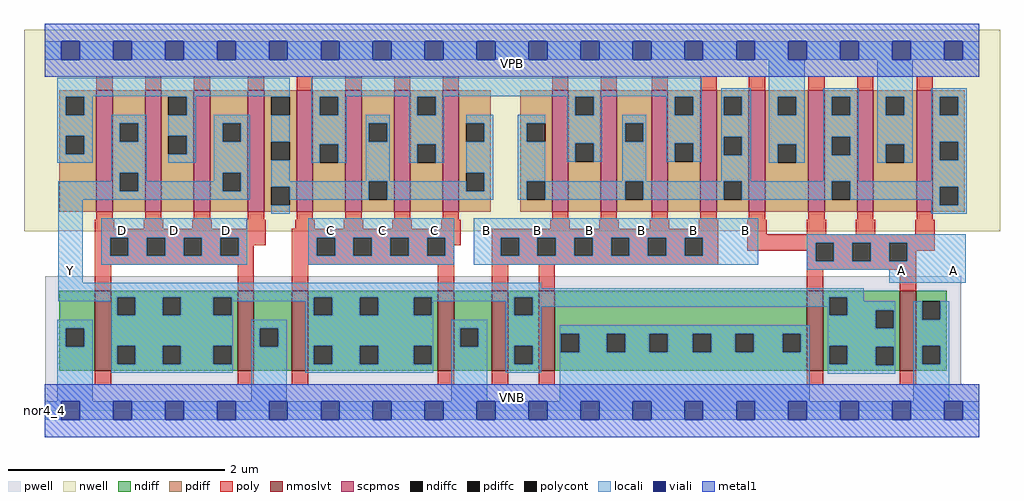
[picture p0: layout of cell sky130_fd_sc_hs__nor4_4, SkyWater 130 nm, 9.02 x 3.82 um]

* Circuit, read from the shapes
.subckt sky130_fd_sc_hs__nor4_4 A B C D VGND VNB VPB VPWR Y
XM1 Y D VGND VNB sky130_fd_pr__nfet_01v8_lvt w=0.74 l=0.15 m=2
XM2 Y C VGND VNB sky130_fd_pr__nfet_01v8_lvt w=0.74 l=0.15 m=2
XM3 Y B VGND VNB sky130_fd_pr__nfet_01v8_lvt w=0.74 l=0.15 m=2
XM4 Y A VGND VNB sky130_fd_pr__nfet_01v8_lvt w=0.74 l=0.15 m=2
XM5 Y D n1 VPB sky130_fd_pr__pfet_01v8 w=1.12 l=0.15 m=4
XM6 n2 C n1 VPB sky130_fd_pr__pfet_01v8 w=1.12 l=0.15 m=4
XM7 n2 B n3 VPB sky130_fd_pr__pfet_01v8 w=1.12 l=0.15 m=4
XM8 VPWR A n3 VPB sky130_fd_pr__pfet_01v8 w=1.12 l=0.15 m=4
.ends

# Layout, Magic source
magic
tech sky130A
magscale 1 2
<< nwell >>
rect -38 332 1766 704
<< pwell >>
rect 1 49 1694 248
rect 0 0 1728 49
<< scpmos >>
rect 96 368 126 592
rect 186 368 216 592
rect 276 368 306 592
rect 376 368 406 592
rect 466 368 496 592
rect 556 368 586 592
rect 646 368 676 592
rect 736 368 766 592
rect 938 368 968 592
rect 1028 368 1058 592
rect 1122 368 1152 592
rect 1212 368 1242 592
rect 1302 368 1332 592
rect 1412 368 1442 592
rect 1502 368 1532 592
rect 1612 368 1642 592
<< nmoslvt >>
rect 93 74 123 222
rect 357 74 387 222
rect 457 74 487 222
rect 727 74 757 222
rect 827 74 857 222
rect 913 74 943 222
rect 1409 74 1439 222
rect 1581 74 1611 222
<< ndiff >>
rect 27 152 93 222
rect 27 118 39 152
rect 73 118 93 152
rect 27 74 93 118
rect 123 210 357 222
rect 123 176 134 210
rect 168 176 218 210
rect 252 176 312 210
rect 346 176 357 210
rect 123 120 357 176
rect 123 86 134 120
rect 168 86 218 120
rect 252 86 312 120
rect 346 86 357 120
rect 123 74 357 86
rect 387 152 457 222
rect 387 118 398 152
rect 432 118 457 152
rect 387 74 457 118
rect 487 210 727 222
rect 487 176 498 210
rect 532 176 583 210
rect 617 176 682 210
rect 716 176 727 210
rect 487 120 727 176
rect 487 86 498 120
rect 532 86 583 120
rect 617 86 682 120
rect 716 86 727 120
rect 487 74 727 86
rect 757 152 827 222
rect 757 118 768 152
rect 802 118 827 152
rect 757 74 827 118
rect 857 210 913 222
rect 857 176 868 210
rect 902 176 913 210
rect 857 120 913 176
rect 857 86 868 120
rect 902 86 913 120
rect 857 74 913 86
rect 943 142 1409 222
rect 943 108 954 142
rect 988 108 1039 142
rect 1073 108 1118 142
rect 1152 108 1198 142
rect 1232 108 1277 142
rect 1311 108 1364 142
rect 1398 108 1409 142
rect 943 74 1409 108
rect 1439 210 1581 222
rect 1439 176 1450 210
rect 1484 186 1581 210
rect 1484 176 1536 186
rect 1439 152 1536 176
rect 1570 152 1581 186
rect 1439 120 1581 152
rect 1439 86 1450 120
rect 1484 118 1581 120
rect 1484 86 1536 118
rect 1439 84 1536 86
rect 1570 84 1581 118
rect 1439 74 1581 84
rect 1611 202 1668 222
rect 1611 168 1622 202
rect 1656 168 1668 202
rect 1611 120 1668 168
rect 1611 86 1622 120
rect 1656 86 1668 120
rect 1611 74 1668 86
<< pdiff >>
rect 27 580 96 592
rect 27 546 39 580
rect 73 546 96 580
rect 27 508 96 546
rect 27 474 39 508
rect 73 474 96 508
rect 27 368 96 474
rect 126 531 186 592
rect 126 497 139 531
rect 173 497 186 531
rect 126 440 186 497
rect 126 406 139 440
rect 173 406 186 440
rect 126 368 186 406
rect 216 580 276 592
rect 216 546 229 580
rect 263 546 276 580
rect 216 508 276 546
rect 216 474 229 508
rect 263 474 276 508
rect 216 368 276 474
rect 306 531 376 592
rect 306 497 329 531
rect 363 497 376 531
rect 306 440 376 497
rect 306 406 329 440
rect 363 406 376 440
rect 306 368 376 406
rect 406 580 466 592
rect 406 546 419 580
rect 453 546 466 580
rect 406 497 466 546
rect 406 463 419 497
rect 453 463 466 497
rect 406 414 466 463
rect 406 380 419 414
rect 453 380 466 414
rect 406 368 466 380
rect 496 580 556 592
rect 496 546 509 580
rect 543 546 556 580
rect 496 492 556 546
rect 496 458 509 492
rect 543 458 556 492
rect 496 368 556 458
rect 586 531 646 592
rect 586 497 599 531
rect 633 497 646 531
rect 586 424 646 497
rect 586 390 599 424
rect 633 390 646 424
rect 586 368 646 390
rect 676 580 736 592
rect 676 546 689 580
rect 723 546 736 580
rect 676 492 736 546
rect 676 458 689 492
rect 723 458 736 492
rect 676 368 736 458
rect 766 531 825 592
rect 766 497 779 531
rect 813 497 825 531
rect 766 440 825 497
rect 766 406 779 440
rect 813 406 825 440
rect 766 368 825 406
rect 879 531 938 592
rect 879 497 891 531
rect 925 497 938 531
rect 879 424 938 497
rect 879 390 891 424
rect 925 390 938 424
rect 879 368 938 390
rect 968 580 1028 592
rect 968 546 981 580
rect 1015 546 1028 580
rect 968 494 1028 546
rect 968 460 981 494
rect 1015 460 1028 494
rect 968 368 1028 460
rect 1058 531 1122 592
rect 1058 497 1073 531
rect 1107 497 1122 531
rect 1058 424 1122 497
rect 1058 390 1073 424
rect 1107 390 1122 424
rect 1058 368 1122 390
rect 1152 580 1212 592
rect 1152 546 1165 580
rect 1199 546 1212 580
rect 1152 494 1212 546
rect 1152 460 1165 494
rect 1199 460 1212 494
rect 1152 368 1212 460
rect 1242 580 1302 592
rect 1242 546 1255 580
rect 1289 546 1302 580
rect 1242 506 1302 546
rect 1242 472 1255 506
rect 1289 472 1302 506
rect 1242 424 1302 472
rect 1242 390 1255 424
rect 1289 390 1302 424
rect 1242 368 1302 390
rect 1332 580 1412 592
rect 1332 546 1355 580
rect 1389 546 1412 580
rect 1332 492 1412 546
rect 1332 458 1355 492
rect 1389 458 1412 492
rect 1332 368 1412 458
rect 1442 580 1502 592
rect 1442 546 1455 580
rect 1489 546 1502 580
rect 1442 506 1502 546
rect 1442 472 1455 506
rect 1489 472 1502 506
rect 1442 424 1502 472
rect 1442 390 1455 424
rect 1489 390 1502 424
rect 1442 368 1502 390
rect 1532 580 1612 592
rect 1532 546 1555 580
rect 1589 546 1612 580
rect 1532 492 1612 546
rect 1532 458 1555 492
rect 1589 458 1612 492
rect 1532 368 1612 458
rect 1642 580 1701 592
rect 1642 546 1655 580
rect 1689 546 1701 580
rect 1642 497 1701 546
rect 1642 463 1655 497
rect 1689 463 1701 497
rect 1642 414 1701 463
rect 1642 380 1655 414
rect 1689 380 1701 414
rect 1642 368 1701 380
<< ndiffc >>
rect 39 118 73 152
rect 134 176 168 210
rect 218 176 252 210
rect 312 176 346 210
rect 134 86 168 120
rect 218 86 252 120
rect 312 86 346 120
rect 398 118 432 152
rect 498 176 532 210
rect 583 176 617 210
rect 682 176 716 210
rect 498 86 532 120
rect 583 86 617 120
rect 682 86 716 120
rect 768 118 802 152
rect 868 176 902 210
rect 868 86 902 120
rect 954 108 988 142
rect 1039 108 1073 142
rect 1118 108 1152 142
rect 1198 108 1232 142
rect 1277 108 1311 142
rect 1364 108 1398 142
rect 1450 176 1484 210
rect 1536 152 1570 186
rect 1450 86 1484 120
rect 1536 84 1570 118
rect 1622 168 1656 202
rect 1622 86 1656 120
<< pdiffc >>
rect 39 546 73 580
rect 39 474 73 508
rect 139 497 173 531
rect 139 406 173 440
rect 229 546 263 580
rect 229 474 263 508
rect 329 497 363 531
rect 329 406 363 440
rect 419 546 453 580
rect 419 463 453 497
rect 419 380 453 414
rect 509 546 543 580
rect 509 458 543 492
rect 599 497 633 531
rect 599 390 633 424
rect 689 546 723 580
rect 689 458 723 492
rect 779 497 813 531
rect 779 406 813 440
rect 891 497 925 531
rect 891 390 925 424
rect 981 546 1015 580
rect 981 460 1015 494
rect 1073 497 1107 531
rect 1073 390 1107 424
rect 1165 546 1199 580
rect 1165 460 1199 494
rect 1255 546 1289 580
rect 1255 472 1289 506
rect 1255 390 1289 424
rect 1355 546 1389 580
rect 1355 458 1389 492
rect 1455 546 1489 580
rect 1455 472 1489 506
rect 1455 390 1489 424
rect 1555 546 1589 580
rect 1555 458 1589 492
rect 1655 546 1689 580
rect 1655 463 1689 497
rect 1655 380 1689 414
<< poly >>
rect 96 592 126 618
rect 186 592 216 618
rect 276 592 306 618
rect 376 592 406 618
rect 466 592 496 618
rect 556 592 586 618
rect 646 592 676 618
rect 736 592 766 618
rect 938 592 968 618
rect 1028 592 1058 618
rect 1122 592 1152 618
rect 1212 592 1242 618
rect 1302 592 1332 618
rect 1412 592 1442 618
rect 1502 592 1532 618
rect 1612 592 1642 618
rect 96 353 126 368
rect 186 353 216 368
rect 276 353 306 368
rect 376 353 406 368
rect 466 353 496 368
rect 556 353 586 368
rect 646 353 676 368
rect 736 353 766 368
rect 938 353 968 368
rect 1028 353 1058 368
rect 1122 353 1152 368
rect 1212 353 1242 368
rect 1302 353 1332 368
rect 1412 353 1442 368
rect 1502 353 1532 368
rect 1612 353 1642 368
rect 93 336 129 353
rect 183 336 219 353
rect 273 336 309 353
rect 373 336 409 353
rect 463 336 499 353
rect 553 336 589 353
rect 643 336 679 353
rect 733 336 769 353
rect 935 336 971 353
rect 1025 336 1061 353
rect 1119 336 1155 353
rect 1209 336 1245 353
rect 93 320 409 336
rect 93 286 121 320
rect 155 286 189 320
rect 223 286 257 320
rect 291 286 325 320
rect 359 306 409 320
rect 457 320 769 336
rect 359 286 387 306
rect 93 270 387 286
rect 93 222 123 270
rect 357 222 387 270
rect 457 286 503 320
rect 537 286 571 320
rect 605 286 639 320
rect 673 286 707 320
rect 741 306 769 320
rect 827 320 1245 336
rect 741 286 757 306
rect 457 270 757 286
rect 457 222 487 270
rect 727 222 757 270
rect 827 286 843 320
rect 877 286 911 320
rect 945 286 979 320
rect 1013 286 1047 320
rect 1081 286 1115 320
rect 1149 286 1183 320
rect 1217 286 1245 320
rect 1299 326 1335 353
rect 1409 326 1445 353
rect 1499 326 1535 353
rect 1609 326 1645 353
rect 1299 310 1645 326
rect 1299 296 1425 310
rect 827 270 1245 286
rect 1409 276 1425 296
rect 1459 276 1493 310
rect 1527 276 1561 310
rect 1595 296 1645 310
rect 1595 276 1611 296
rect 827 222 857 270
rect 913 222 943 270
rect 1409 260 1611 276
rect 1409 222 1439 260
rect 1581 222 1611 260
rect 93 48 123 74
rect 357 48 387 74
rect 457 48 487 74
rect 727 48 757 74
rect 827 48 857 74
rect 913 48 943 74
rect 1409 48 1439 74
rect 1581 48 1611 74
<< polycont >>
rect 121 286 155 320
rect 189 286 223 320
rect 257 286 291 320
rect 325 286 359 320
rect 503 286 537 320
rect 571 286 605 320
rect 639 286 673 320
rect 707 286 741 320
rect 843 286 877 320
rect 911 286 945 320
rect 979 286 1013 320
rect 1047 286 1081 320
rect 1115 286 1149 320
rect 1183 286 1217 320
rect 1425 276 1459 310
rect 1493 276 1527 310
rect 1561 276 1595 310
<< locali >>
rect 0 649 31 683
rect 65 649 127 683
rect 161 649 223 683
rect 257 649 319 683
rect 353 649 415 683
rect 449 649 511 683
rect 545 649 607 683
rect 641 649 703 683
rect 737 649 799 683
rect 833 649 895 683
rect 929 649 991 683
rect 1025 649 1087 683
rect 1121 649 1183 683
rect 1217 649 1279 683
rect 1313 649 1375 683
rect 1409 649 1471 683
rect 1505 649 1567 683
rect 1601 649 1663 683
rect 1697 649 1728 683
rect 23 581 453 615
rect 23 580 89 581
rect 23 546 39 580
rect 73 546 89 580
rect 229 580 279 581
rect 23 508 89 546
rect 23 474 39 508
rect 73 474 89 508
rect 23 458 89 474
rect 123 531 189 547
rect 123 497 139 531
rect 173 497 189 531
rect 123 440 189 497
rect 263 546 279 580
rect 419 580 453 581
rect 229 508 279 546
rect 263 474 279 508
rect 229 458 279 474
rect 313 531 379 547
rect 313 497 329 531
rect 363 497 379 531
rect 123 424 139 440
rect 25 406 139 424
rect 173 424 189 440
rect 313 440 379 497
rect 313 424 329 440
rect 173 406 329 424
rect 363 406 379 440
rect 25 390 379 406
rect 419 497 453 546
rect 419 424 453 463
rect 493 581 1215 615
rect 493 580 559 581
rect 493 546 509 580
rect 543 546 559 580
rect 673 580 739 581
rect 493 492 559 546
rect 493 458 509 492
rect 543 458 559 492
rect 594 531 638 547
rect 594 497 599 531
rect 633 497 638 531
rect 594 424 638 497
rect 673 546 689 580
rect 723 546 739 580
rect 965 580 1031 581
rect 673 492 739 546
rect 673 458 689 492
rect 723 458 739 492
rect 779 531 829 547
rect 813 497 829 531
rect 779 440 829 497
rect 419 414 599 424
rect 25 236 71 390
rect 453 390 599 414
rect 633 406 779 424
rect 813 406 829 440
rect 633 390 829 406
rect 875 531 925 547
rect 875 497 891 531
rect 875 424 925 497
rect 965 546 981 580
rect 1015 546 1031 580
rect 1149 580 1215 581
rect 965 494 1031 546
rect 965 460 981 494
rect 1015 460 1031 494
rect 1068 531 1112 547
rect 1068 497 1073 531
rect 1107 497 1112 531
rect 1068 424 1112 497
rect 1149 546 1165 580
rect 1199 546 1215 580
rect 1149 494 1215 546
rect 1149 460 1165 494
rect 1199 460 1215 494
rect 1251 580 1305 596
rect 1251 546 1255 580
rect 1289 546 1305 580
rect 1251 506 1305 546
rect 1251 472 1255 506
rect 1289 472 1305 506
rect 1251 424 1305 472
rect 1339 580 1405 649
rect 1339 546 1355 580
rect 1389 546 1405 580
rect 1339 492 1405 546
rect 1339 458 1355 492
rect 1389 458 1405 492
rect 1439 580 1505 596
rect 1439 546 1455 580
rect 1489 546 1505 580
rect 1439 506 1505 546
rect 1439 472 1455 506
rect 1489 472 1505 506
rect 1439 424 1505 472
rect 1539 580 1605 649
rect 1539 546 1555 580
rect 1589 546 1605 580
rect 1539 492 1605 546
rect 1539 458 1555 492
rect 1589 458 1605 492
rect 1639 580 1705 596
rect 1639 546 1655 580
rect 1689 546 1705 580
rect 1639 497 1705 546
rect 1639 463 1655 497
rect 1689 463 1705 497
rect 1639 424 1705 463
rect 875 390 891 424
rect 925 390 1073 424
rect 1107 390 1255 424
rect 1289 390 1455 424
rect 1489 414 1705 424
rect 1489 390 1655 414
rect 419 364 453 380
rect 1639 380 1655 390
rect 1689 380 1705 414
rect 1639 364 1705 380
rect 105 320 375 356
rect 105 286 121 320
rect 155 286 189 320
rect 223 286 257 320
rect 291 286 325 320
rect 359 286 375 320
rect 105 270 375 286
rect 487 320 757 356
rect 487 286 503 320
rect 537 286 571 320
rect 605 286 639 320
rect 673 286 707 320
rect 741 286 757 320
rect 487 270 757 286
rect 793 320 1319 356
rect 793 286 843 320
rect 877 286 911 320
rect 945 286 979 320
rect 1013 286 1047 320
rect 1081 286 1115 320
rect 1149 286 1183 320
rect 1217 286 1319 320
rect 793 270 1319 286
rect 1409 310 1703 326
rect 1409 276 1425 310
rect 1459 276 1493 310
rect 1527 276 1561 310
rect 1595 276 1703 310
rect 1409 260 1703 276
rect 1561 236 1703 260
rect 25 226 918 236
rect 25 210 1514 226
rect 25 202 134 210
rect 123 176 134 202
rect 168 176 218 210
rect 252 176 312 210
rect 346 202 498 210
rect 346 176 348 202
rect 23 152 89 168
rect 23 118 39 152
rect 73 118 89 152
rect 23 17 89 118
rect 123 120 348 176
rect 482 176 498 202
rect 532 176 583 210
rect 617 176 682 210
rect 716 202 868 210
rect 716 176 718 202
rect 123 86 134 120
rect 168 86 218 120
rect 252 86 312 120
rect 346 86 348 120
rect 123 70 348 86
rect 382 152 448 168
rect 382 118 398 152
rect 432 118 448 152
rect 382 17 448 118
rect 482 120 718 176
rect 852 176 868 202
rect 902 192 1450 210
rect 902 176 918 192
rect 482 86 498 120
rect 532 86 583 120
rect 617 86 682 120
rect 716 86 718 120
rect 482 70 718 86
rect 752 152 818 168
rect 752 118 768 152
rect 802 118 818 152
rect 752 17 818 118
rect 852 120 918 176
rect 1448 176 1450 192
rect 1484 202 1514 210
rect 1484 186 1572 202
rect 1484 176 1536 186
rect 852 86 868 120
rect 902 86 918 120
rect 852 70 918 86
rect 952 142 1414 158
rect 952 108 954 142
rect 988 108 1039 142
rect 1073 108 1118 142
rect 1152 108 1198 142
rect 1232 108 1277 142
rect 1311 108 1364 142
rect 1398 108 1414 142
rect 952 17 1414 108
rect 1448 152 1536 176
rect 1570 152 1572 186
rect 1448 120 1572 152
rect 1448 86 1450 120
rect 1484 118 1572 120
rect 1484 86 1536 118
rect 1448 84 1536 86
rect 1570 84 1572 118
rect 1448 68 1572 84
rect 1606 168 1622 202
rect 1656 168 1672 202
rect 1606 120 1672 168
rect 1606 86 1622 120
rect 1656 86 1672 120
rect 1606 17 1672 86
rect 0 -17 31 17
rect 65 -17 127 17
rect 161 -17 223 17
rect 257 -17 319 17
rect 353 -17 415 17
rect 449 -17 511 17
rect 545 -17 607 17
rect 641 -17 703 17
rect 737 -17 799 17
rect 833 -17 895 17
rect 929 -17 991 17
rect 1025 -17 1087 17
rect 1121 -17 1183 17
rect 1217 -17 1279 17
rect 1313 -17 1375 17
rect 1409 -17 1471 17
rect 1505 -17 1567 17
rect 1601 -17 1663 17
rect 1697 -17 1728 17
<< viali >>
rect 31 649 65 683
rect 127 649 161 683
rect 223 649 257 683
rect 319 649 353 683
rect 415 649 449 683
rect 511 649 545 683
rect 607 649 641 683
rect 703 649 737 683
rect 799 649 833 683
rect 895 649 929 683
rect 991 649 1025 683
rect 1087 649 1121 683
rect 1183 649 1217 683
rect 1279 649 1313 683
rect 1375 649 1409 683
rect 1471 649 1505 683
rect 1567 649 1601 683
rect 1663 649 1697 683
rect 31 -17 65 17
rect 127 -17 161 17
rect 223 -17 257 17
rect 319 -17 353 17
rect 415 -17 449 17
rect 511 -17 545 17
rect 607 -17 641 17
rect 703 -17 737 17
rect 799 -17 833 17
rect 895 -17 929 17
rect 991 -17 1025 17
rect 1087 -17 1121 17
rect 1183 -17 1217 17
rect 1279 -17 1313 17
rect 1375 -17 1409 17
rect 1471 -17 1505 17
rect 1567 -17 1601 17
rect 1663 -17 1697 17
<< metal1 >>
rect 0 683 1728 715
rect 0 649 31 683
rect 65 649 127 683
rect 161 649 223 683
rect 257 649 319 683
rect 353 649 415 683
rect 449 649 511 683
rect 545 649 607 683
rect 641 649 703 683
rect 737 649 799 683
rect 833 649 895 683
rect 929 649 991 683
rect 1025 649 1087 683
rect 1121 649 1183 683
rect 1217 649 1279 683
rect 1313 649 1375 683
rect 1409 649 1471 683
rect 1505 649 1567 683
rect 1601 649 1663 683
rect 1697 649 1728 683
rect 0 617 1728 649
rect 0 17 1728 49
rect 0 -17 31 17
rect 65 -17 127 17
rect 161 -17 223 17
rect 257 -17 319 17
rect 353 -17 415 17
rect 449 -17 511 17
rect 545 -17 607 17
rect 641 -17 703 17
rect 737 -17 799 17
rect 833 -17 895 17
rect 929 -17 991 17
rect 1025 -17 1087 17
rect 1121 -17 1183 17
rect 1217 -17 1279 17
rect 1313 -17 1375 17
rect 1409 -17 1471 17
rect 1505 -17 1567 17
rect 1601 -17 1663 17
rect 1697 -17 1728 17
rect 0 -49 1728 -17
<< labels >>
rlabel comment s 0 0 0 0 4 nor4_4
flabel pwell s 0 0 1728 49 0 FreeSans 200 0 0 0 VNB
port 6 nsew ground bidirectional
flabel nwell s 0 617 1728 666 0 FreeSans 200 0 0 0 VPB
port 7 nsew power bidirectional
flabel metal1 s 0 617 1728 666 0 FreeSans 340 0 0 0 VPWR
port 8 nsew power bidirectional
flabel metal1 s 0 0 1728 49 0 FreeSans 340 0 0 0 VGND
port 5 nsew ground bidirectional
flabel locali s 31 242 65 276 0 FreeSans 340 0 0 0 Y
port 9 nsew signal output
flabel locali s 1567 242 1601 276 0 FreeSans 340 0 0 0 A
port 1 nsew signal input
flabel locali s 1663 242 1697 276 0 FreeSans 340 0 0 0 A
port 1 nsew signal input
flabel locali s 799 316 833 350 0 FreeSans 340 0 0 0 B
port 2 nsew signal input
flabel locali s 895 316 929 350 0 FreeSans 340 0 0 0 B
port 2 nsew signal input
flabel locali s 991 316 1025 350 0 FreeSans 340 0 0 0 B
port 2 nsew signal input
flabel locali s 1087 316 1121 350 0 FreeSans 340 0 0 0 B
port 2 nsew signal input
flabel locali s 1183 316 1217 350 0 FreeSans 340 0 0 0 B
port 2 nsew signal input
flabel locali s 1279 316 1313 350 0 FreeSans 340 0 0 0 B
port 2 nsew signal input
flabel locali s 511 316 545 350 0 FreeSans 340 0 0 0 C
port 3 nsew signal input
flabel locali s 607 316 641 350 0 FreeSans 340 0 0 0 C
port 3 nsew signal input
flabel locali s 703 316 737 350 0 FreeSans 340 0 0 0 C
port 3 nsew signal input
flabel locali s 127 316 161 350 0 FreeSans 340 0 0 0 D
port 4 nsew signal input
flabel locali s 223 316 257 350 0 FreeSans 340 0 0 0 D
port 4 nsew signal input
flabel locali s 319 316 353 350 0 FreeSans 340 0 0 0 D
port 4 nsew signal input
<< properties >>
string LEFsite unit
string LEFclass CORE
string FIXED_BBOX 0 0 1728 666
string GDS_FILE $PDKPATH/libs.ref/sky130_fd_sc_hs/gds/sky130_fd_sc_hs.gds
string LEFsymmetry X Y
string GDS_END 2361952
string GDS_START 2347954
<< end >>
